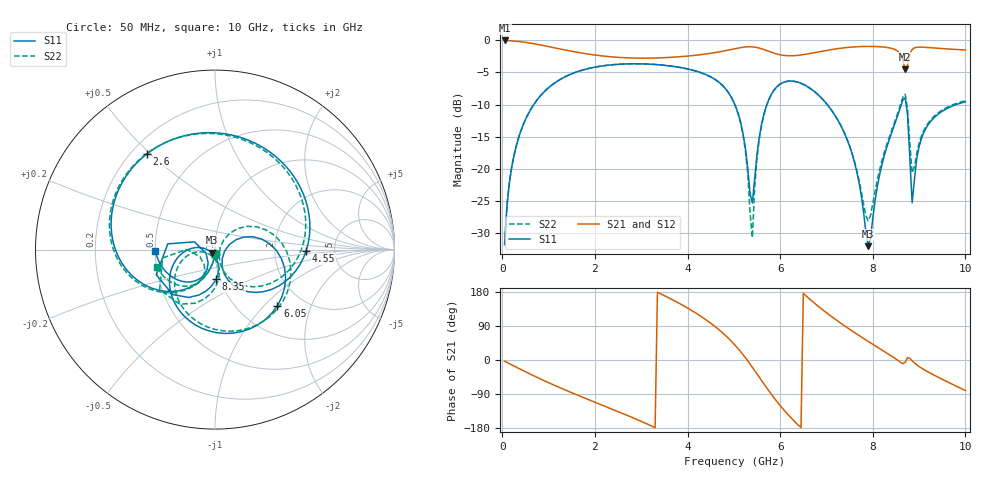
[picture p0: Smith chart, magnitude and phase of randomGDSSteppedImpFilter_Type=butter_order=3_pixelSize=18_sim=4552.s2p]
! freq	dB(S11)	phase(S11)	dB(S12)	phase(S12)
!  dB(S21)	phase(S21)	dB(S22)	phase(S22)
!S-par simulation data
#  GHz  S  DB  R 50
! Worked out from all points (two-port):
!   200 points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, 50 MHz to 10 GHz, reference 50 ohm
!   highest |S21| = -0.01 dB at 50 MHz (marker M1); lowest = -4.5 dB at 8.7 GHz (marker M2)
!   |S21| within 3 dB of the highest: start of sweep to 8.644 GHz; 8.775 GHz to end of sweep
!   lowest |S11| = -32.1 dB at 7.9 GHz (marker M3), VSWR 1.05, Z = 48.1 - j1.57 ohm
!   |S11| at or under -10 dB: 5.021 GHz to 5.714 GHz (692.4 MHz wide, 12.9 % of centre); 7.017 GHz to 8.616 GHz (1.598 GHz wide, 20.5 % of centre); 8.72 GHz to 9.801 GHz (1.081 GHz wide, 11.7 % of centre) (the widest 3 of 4)
!   |S22| runs from -31.8 to -3.6 dB; largest |S21 - S12| = 0
!   S11 on the Smith chart (normalised r, x): 50 MHz: 1.00, -0.05; 2.6 GHz: 0.26, +0.49; 4.55 GHz: 3.06, -0.06; 6.05 GHz: 1.50, -1.20; 8.35 GHz: 0.96, -0.33; 10 GHz: 0.50, -0.01
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0.05  -31.84 -93.3  -0.01 -3.2  -0.01 -3.2  -31.84 -93.2
0.2  -19.90 -103.3  -0.06 -12.6  -0.06 -12.6  -19.90 -102.9
0.5  -12.34 -122.1  -0.30 -31.0  -0.30 -31.0  -12.34 -121.1
1.75  -4.59 168.6  -2.01 -99.0  -2.01 -99.0  -4.59 172.2
2.6  -3.68 125.5  -2.68 -141.1  -2.68 -141.1  -3.68 131.3
3.4  -3.81 81.6  -2.72 175.7  -2.72 175.7  -3.81 89.6
4  -4.45 42.8  -2.44 137.2  -2.44 137.2  -4.44 52.3
4.55  -5.89 -0.9  -1.95 92.4  -1.95 92.4  -5.88 9.1
5.05  -10.50 -51.9  -1.25 35.8  -1.25 35.8  -10.55 -44.3
5.25  -16.82 -69.2  -1.02 6.1  -1.02 6.1  -17.21 -67.7
5.4  -25.33 -8.9  -1.01 -19.0  -1.01 -19.0  -30.74 15.9
5.5  -17.76 25.2  -1.11 -36.7  -1.11 -36.7  -18.33 48.1
5.6  -13.03 18.7  -1.30 -54.5  -1.30 -54.5  -13.20 36.3
6.05  -6.60 -41.9  -2.31 -127.5  -2.31 -127.5  -6.61 -30.3
6.7  -7.75 -114.3  -1.96 154.1  -1.96 154.1  -7.75 -105.4
7.5  -16.50 -180.0  -1.07 81.0  -1.07 81.0  -16.46 -168.6
7.9  -32.08 -139.0  -0.93 49.2  -0.93 49.2  -28.13 -125.4
8.35  -15.60 -88.2  -1.15 14.9  -1.15 14.9  -15.18 -84.3
8.7  -8.96 -156.8  -4.52 -6.0  -4.52 -6.0  -8.39 -144.2
8.85  -25.31 -158.6  -1.41 -2.0  -1.41 -2.0  -20.63 -154.6
9.15  -13.67 -122.5  -1.09 -28.5  -1.09 -28.5  -13.39 -118.3
10  -9.58 -178.7  -1.49 -80.5  -1.49 -80.5  -9.42 -162.9
